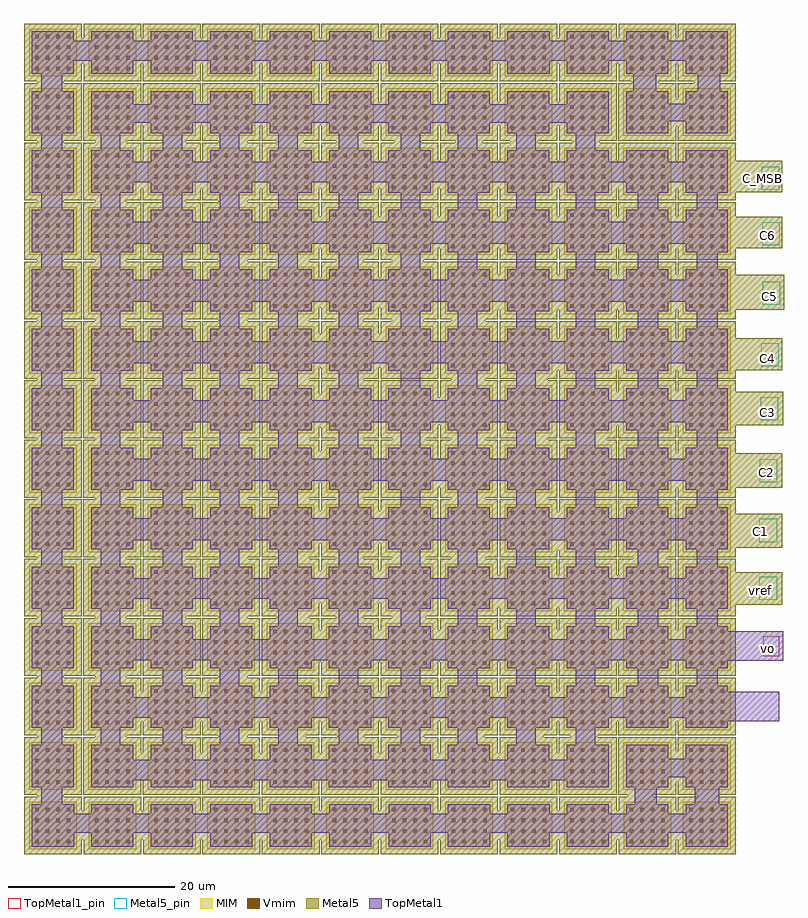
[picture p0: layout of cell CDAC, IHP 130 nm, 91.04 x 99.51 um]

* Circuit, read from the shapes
.subckt CDAC C1 C2 C3 C4 C5 C6 C_MSB vo vref
XC1 n1 n2 cap_cmim w=5.71u l=5.71u m=40
XC2 vo C_MSB cap_cmim w=5.71u l=5.71u m=64
XC3 vo C6 cap_cmim w=5.71u l=5.71u m=32
XC4 vo C5 cap_cmim w=5.71u l=5.71u m=16
XC5 vo C4 cap_cmim w=5.71u l=5.71u m=8
XC6 vo C3 cap_cmim w=5.71u l=5.71u m=4
XC7 vo C2 cap_cmim w=5.71u l=5.71u m=2
XC8 vo vref cap_cmim w=5.71u l=5.71u
XC9 vo C1 cap_cmim w=5.71u l=5.71u
.ends

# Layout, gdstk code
import gdstk
lib = gdstk.Library(unit=1e-6, precision=1e-09)
def R(c, l, rs):  # rectangles x0, y0, x1, y1
    for r in rs: c.add(gdstk.rectangle(r[:2], r[2:], *l))
def A(c, l, x, y, w, h, nx, ny, dx, dy):  # array of equal rectangles
    R(c, l, [(x+i*dx, y+j*dy, x+i*dx+w, y+j*dy+h) for i in range(nx) for j in range(ny)])
MIM = (36, 0)
Metal5 = (67, 0)
Metal5_pin = (67, 2)
TopMetal1 = (126, 0)
TopMetal1_pin = (126, 2)
Vmim = (129, 0)

cmim_2 = lib.new_cell('cmim$2')
R(cmim_2, MIM, [(0,0,5.71,5.71)])
R(cmim_2, Metal5, [(-0.6,-0.6,6.31,6.31)])
R(cmim_2, TopMetal1, [(0.335,0.335,5.375,5.375)])
A(cmim_2, Vmim, 0.755, 0.755, 0.42, 0.42, 4, 4, 1.26, 1.26)

cmim_1 = lib.new_cell('cmim$1')
R(cmim_1, MIM, [(0,0,5.71,5.71)])
R(cmim_1, Metal5, [(-0.6,-0.6,6.31,6.31)])
R(cmim_1, TopMetal1, [(0.335,0.335,5.375,5.375)])
A(cmim_1, Vmim, 0.755, 0.755, 0.42, 0.42, 4, 4, 1.26, 1.26)

cdac = lib.new_cell('CDAC')
R(cdac, Metal5, [(0.84,-83.655,82.315,-80.135), (71.43,-83.62,74.395,-73.065), (79.78,-83.62,82.29,-73.095), (0.67,-83.49,3.855,12.575), (71.415,-76.695,82.31,-73.065), (7.485,-76.475,67.675,-73.285), (64.49,-76.42,67.735,-66.115), (29.565,-76.29,32.81,-65.985), (36.605,-76.29,39.85,-65.985), (43.765,-76.25,47.01,-65.945), (50.97,-76.25,54.215,-65.945), (58.055,-76.25,61.3,-65.945), (7.595,-76.145,11.335,4.73), (15.625,-76.145,18.485,4.62), (22.34,-75.815,25.86,4.73), (7.485,-69.435,82.31,-65.91), (36.42,-62.83,39.725,-9.025), (29.38,-62.72,33.23,-9.025), (43.135,-62.5,47.205,-44.565), (29.6,-62.28,82.2,-58.54), (50.285,-55.79,75.705,-51.94), (72.075,-55.68,76.035,-44.785), (50.285,-55.57,54.36,-16.065), (78.785,-55.46,89.9,-51.605), (29.38,-55.24,47.535,-51.385), (57.99,-48.965,61.84,-23.55), (58.1,-48.965,68.555,-44.345), (78.785,-48.635,89.9,-44.565), (29.27,-48.085,47.315,-44.235), (65.03,-41.485,68.885,-30.15), (72.075,-41.485,89.9,-37.305), (43.135,-41.375,53.48,-38.075), (43.245,-41.045,47.205,-30.37), (29.27,-40.825,39.835,-37.085), (29.27,-34.22,39.945,-30.26), (65.03,-34,90.01,-29.93), (43.465,-33.89,53.15,-30.59), (57.88,-27.4,89.9,-23.55), (29.38,-27.07,47.205,-23), (43.135,-26.52,46.985,-9.135), (50.175,-20.135,90.12,-15.955), (29.38,-19.915,47.205,-16.285), (29.6,-12.765,82.09,-9.025), (78.895,-12.765,89.9,-9.025), (78.785,-6.05,89.9,-2.31), (64.83,-5.64,68.075,4.665), (7.485,-5.61,82.97,-2.31), (29.37,-5.6,32.615,4.705), (36.47,-5.6,39.715,4.705), (50.755,-5.59,54,4.715), (57.355,-5.59,60.6,4.715), (43.44,-5.545,46.685,4.76), (71.635,1.87,82.2,5.06), (7.705,1.98,68.115,4.73), (71.895,2.03,75.125,12.46), (79.37,2.03,82.51,12.365), (0.67,9.39,82.485,12.405)])
R(cdac, Metal5_pin, [(87.185,-54.885,89.285,-52.12), (87.185,-47.965,89.285,-45.2), (87.235,-40.825,89.335,-38.06), (87.34,-33.385,89.44,-30.62), (87.375,-26.91,89.475,-24.145), (87.6,-19.565,89.7,-16.8), (87.495,-12.405,89.595,-9.64), (87.46,-5.75,89.56,-2.985)])
R(cdac, TopMetal1, [(1.175,-82.985,3.69,11.065), (79.41,-82.87,82.355,-73.895), (1.41,-82.775,82.55,-80.5), (72.23,-82.74,74.86,-74.09), (29.545,-77.175,31.88,4.53), (22.52,-77.075,24.855,4.63), (36.77,-76.78,39.105,4.925), (15.69,-76.58,18.025,5.125), (44.19,-76.58,46.525,5.125), (7.745,-76.48,68.38,-74.015), (51.02,-76.48,53.355,5.225), (58.045,-76.38,60.38,5.325), (65.17,-76.38,67.505,5.325), (8.27,-76.285,10.605,5.42), (72.295,-76.145,82.31,-73.945), (78.635,-69.435,89.53,-65.915), (72.625,-69.325,75.045,-1.87), (79.665,-69.215,82.2,-1.98), (8.08,-69.025,81.75,-66.55), (79.115,-62.17,90.01,-58.65), (8.3,-62.095,81.97,-59.62), (9.1,-54.755,81.65,-52.28), (9.26,-47.73,81.33,-45.095), (9.55,-40.595,81.62,-37.96), (9.225,-33.6,81.295,-30.965), (8.915,-26.575,80.985,-23.94), (8.645,-19.175,80.715,-16.54), (9.16,-12.25,81.23,-9.615), (7.94,-4.89,81.61,-2.415), (7.94,-4.89,81.61,-2.415), (7.66,2.29,68.4,4.49), (71.965,2.42,81.98,4.51), (72.05,2.525,74.815,12.06), (79.8,2.525,82.51,11.935), (1.2,9.67,81.98,12.07)])
R(cdac, TopMetal1_pin, [(87.64,-61.645,89.53,-59.23)])
cdac.add(gdstk.Reference(cmim_2, (49.525,0.69)))
cdac.add(gdstk.Reference(cmim_1, (42.405,0.69)))
cdac.add(gdstk.Reference(cmim_2, (78.01,0.69)))
cdac.add(gdstk.Reference(cmim_1, (70.89,0.69)))
cdac.add(gdstk.Reference(cmim_1, (63.77,0.69)))
cdac.add(gdstk.Reference(cmim_1, (56.65,0.69)))
cdac.add(gdstk.Reference(cmim_2, (49.525,-6.43)))
cdac.add(gdstk.Reference(cmim_1, (42.405,-6.43)))
cdac.add(gdstk.Reference(cmim_2, (78.01,-6.43)))
cdac.add(gdstk.Reference(cmim_1, (70.89,-6.43)))
cdac.add(gdstk.Reference(cmim_1, (63.77,-6.43)))
cdac.add(gdstk.Reference(cmim_1, (56.65,-6.43)))
cdac.add(gdstk.Reference(cmim_2, (49.525,-13.555)))
cdac.add(gdstk.Reference(cmim_1, (42.405,-13.555)))
cdac.add(gdstk.Reference(cmim_2, (78.01,-13.555)))
cdac.add(gdstk.Reference(cmim_1, (70.89,-13.555)))
cdac.add(gdstk.Reference(cmim_1, (63.77,-13.555)))
cdac.add(gdstk.Reference(cmim_1, (56.65,-13.555)))
cdac.add(gdstk.Reference(cmim_2, (49.525,-20.675)))
cdac.add(gdstk.Reference(cmim_1, (42.405,-20.675)))
cdac.add(gdstk.Reference(cmim_2, (78.01,-20.675)))
cdac.add(gdstk.Reference(cmim_1, (70.89,-20.675)))
cdac.add(gdstk.Reference(cmim_1, (63.77,-20.675)))
cdac.add(gdstk.Reference(cmim_1, (56.65,-20.675)))
cdac.add(gdstk.Reference(cmim_2, (49.525,-27.795)))
cdac.add(gdstk.Reference(cmim_1, (42.405,-27.795)))
cdac.add(gdstk.Reference(cmim_2, (78.01,-27.795)))
cdac.add(gdstk.Reference(cmim_1, (70.89,-27.795)))
cdac.add(gdstk.Reference(cmim_1, (63.77,-27.795)))
cdac.add(gdstk.Reference(cmim_1, (56.65,-27.795)))
cdac.add(gdstk.Reference(cmim_2, (49.525,-34.915)))
cdac.add(gdstk.Reference(cmim_1, (42.405,-34.915)))
cdac.add(gdstk.Reference(cmim_2, (78.01,-34.915)))
cdac.add(gdstk.Reference(cmim_1, (70.89,-34.915)))
cdac.add(gdstk.Reference(cmim_1, (63.77,-34.915)))
cdac.add(gdstk.Reference(cmim_1, (56.65,-34.915)))
cdac.add(gdstk.Reference(cmim_2, (49.53,7.825)))
cdac.add(gdstk.Reference(cmim_1, (42.41,7.825)))
cdac.add(gdstk.Reference(cmim_2, (78.015,7.825)))
cdac.add(gdstk.Reference(cmim_1, (70.895,7.825)))
cdac.add(gdstk.Reference(cmim_1, (63.775,7.825)))
cdac.add(gdstk.Reference(cmim_1, (56.655,7.825)))
cdac.add(gdstk.Reference(cmim_1, (35.285,-20.675)))
cdac.add(gdstk.Reference(cmim_1, (28.165,-20.675)))
cdac.add(gdstk.Reference(cmim_1, (6.805,0.69)))
cdac.add(gdstk.Reference(cmim_1, (-0.315,0.69)))
cdac.add(gdstk.Reference(cmim_2, (21.045,0.69)))
cdac.add(gdstk.Reference(cmim_1, (13.925,0.69)))
cdac.add(gdstk.Reference(cmim_2, (21.045,-27.795)))
cdac.add(gdstk.Reference(cmim_1, (13.925,-27.795)))
cdac.add(gdstk.Reference(cmim_1, (6.805,-27.795)))
cdac.add(gdstk.Reference(cmim_1, (-0.315,-27.795)))
cdac.add(gdstk.Reference(cmim_2, (21.045,-13.555)))
cdac.add(gdstk.Reference(cmim_1, (13.925,-13.555)))
cdac.add(gdstk.Reference(cmim_1, (35.285,-27.795)))
cdac.add(gdstk.Reference(cmim_1, (28.165,-27.795)))
cdac.add(gdstk.Reference(cmim_1, (6.805,-13.555)))
cdac.add(gdstk.Reference(cmim_1, (-0.315,-13.555)))
cdac.add(gdstk.Reference(cmim_2, (21.045,-6.43)))
cdac.add(gdstk.Reference(cmim_1, (13.925,-6.43)))
cdac.add(gdstk.Reference(cmim_2, (21.045,-34.915)))
cdac.add(gdstk.Reference(cmim_1, (13.925,-34.915)))
cdac.add(gdstk.Reference(cmim_1, (6.805,-34.915)))
cdac.add(gdstk.Reference(cmim_1, (-0.315,-34.915)))
cdac.add(gdstk.Reference(cmim_1, (35.285,-13.555)))
cdac.add(gdstk.Reference(cmim_1, (28.165,-13.555)))
cdac.add(gdstk.Reference(cmim_1, (35.285,-34.915)))
cdac.add(gdstk.Reference(cmim_1, (28.165,-34.915)))
cdac.add(gdstk.Reference(cmim_1, (6.805,-6.43)))
cdac.add(gdstk.Reference(cmim_1, (-0.315,-6.43)))
cdac.add(gdstk.Reference(cmim_1, (35.285,0.69)))
cdac.add(gdstk.Reference(cmim_1, (28.165,0.69)))
cdac.add(gdstk.Reference(cmim_2, (21.045,-20.675)))
cdac.add(gdstk.Reference(cmim_1, (13.925,-20.675)))
cdac.add(gdstk.Reference(cmim_1, (6.805,-20.675)))
cdac.add(gdstk.Reference(cmim_1, (-0.315,-20.675)))
cdac.add(gdstk.Reference(cmim_1, (35.285,-6.43)))
cdac.add(gdstk.Reference(cmim_1, (28.165,-6.43)))
cdac.add(gdstk.Reference(cmim_1, (6.81,7.825)))
cdac.add(gdstk.Reference(cmim_1, (-0.31,7.825)))
cdac.add(gdstk.Reference(cmim_2, (21.05,7.825)))
cdac.add(gdstk.Reference(cmim_1, (13.93,7.825)))
cdac.add(gdstk.Reference(cmim_1, (35.29,7.825)))
cdac.add(gdstk.Reference(cmim_1, (28.17,7.825)))
cdac.add(gdstk.Reference(cmim_2, (21.04,-56.28)))
cdac.add(gdstk.Reference(cmim_1, (13.92,-56.28)))
cdac.add(gdstk.Reference(cmim_1, (6.8,-56.28)))
cdac.add(gdstk.Reference(cmim_1, (-0.32,-56.28)))
cdac.add(gdstk.Reference(cmim_1, (35.28,-56.28)))
cdac.add(gdstk.Reference(cmim_1, (28.16,-56.28)))
cdac.add(gdstk.Reference(cmim_2, (21.04,-63.4)))
cdac.add(gdstk.Reference(cmim_1, (13.92,-63.4)))
cdac.add(gdstk.Reference(cmim_1, (6.8,-63.4)))
cdac.add(gdstk.Reference(cmim_1, (-0.32,-63.4)))
cdac.add(gdstk.Reference(cmim_1, (35.28,-63.4)))
cdac.add(gdstk.Reference(cmim_1, (28.16,-63.4)))
cdac.add(gdstk.Reference(cmim_2, (21.04,-70.525)))
cdac.add(gdstk.Reference(cmim_1, (13.92,-70.525)))
cdac.add(gdstk.Reference(cmim_1, (6.8,-70.525)))
cdac.add(gdstk.Reference(cmim_1, (-0.32,-70.525)))
cdac.add(gdstk.Reference(cmim_1, (35.28,-70.525)))
cdac.add(gdstk.Reference(cmim_1, (28.16,-70.525)))
cdac.add(gdstk.Reference(cmim_2, (21.04,-77.645)))
cdac.add(gdstk.Reference(cmim_1, (13.92,-77.645)))
cdac.add(gdstk.Reference(cmim_1, (6.8,-77.645)))
cdac.add(gdstk.Reference(cmim_1, (-0.32,-77.645)))
cdac.add(gdstk.Reference(cmim_1, (35.28,-77.645)))
cdac.add(gdstk.Reference(cmim_1, (28.16,-77.645)))
cdac.add(gdstk.Reference(cmim_2, (21.045,-42.04)))
cdac.add(gdstk.Reference(cmim_1, (13.925,-42.04)))
cdac.add(gdstk.Reference(cmim_1, (6.805,-42.04)))
cdac.add(gdstk.Reference(cmim_1, (-0.315,-42.04)))
cdac.add(gdstk.Reference(cmim_1, (35.285,-42.04)))
cdac.add(gdstk.Reference(cmim_1, (28.165,-42.04)))
cdac.add(gdstk.Reference(cmim_2, (21.045,-49.16)))
cdac.add(gdstk.Reference(cmim_1, (13.925,-49.16)))
cdac.add(gdstk.Reference(cmim_1, (6.805,-49.16)))
cdac.add(gdstk.Reference(cmim_1, (-0.315,-49.16)))
cdac.add(gdstk.Reference(cmim_1, (35.285,-49.16)))
cdac.add(gdstk.Reference(cmim_1, (28.165,-49.16)))
cdac.add(gdstk.Reference(cmim_1, (6.815,-84.775)))
cdac.add(gdstk.Reference(cmim_1, (-0.305,-84.775)))
cdac.add(gdstk.Reference(cmim_2, (21.055,-84.775)))
cdac.add(gdstk.Reference(cmim_1, (13.935,-84.775)))
cdac.add(gdstk.Reference(cmim_1, (35.295,-84.775)))
cdac.add(gdstk.Reference(cmim_1, (28.175,-84.775)))
cdac.add(gdstk.Reference(cmim_2, (49.52,-56.28)))
cdac.add(gdstk.Reference(cmim_1, (42.4,-56.28)))
cdac.add(gdstk.Reference(cmim_2, (78.005,-70.525)))
cdac.add(gdstk.Reference(cmim_1, (70.885,-70.525)))
cdac.add(gdstk.Reference(cmim_1, (63.765,-70.525)))
cdac.add(gdstk.Reference(cmim_1, (56.645,-70.525)))
cdac.add(gdstk.Reference(cmim_2, (49.525,-49.16)))
cdac.add(gdstk.Reference(cmim_1, (42.405,-49.16)))
cdac.add(gdstk.Reference(cmim_2, (78.005,-56.28)))
cdac.add(gdstk.Reference(cmim_1, (70.885,-56.28)))
cdac.add(gdstk.Reference(cmim_2, (49.52,-77.645)))
cdac.add(gdstk.Reference(cmim_1, (42.4,-77.645)))
cdac.add(gdstk.Reference(cmim_1, (63.765,-56.28)))
cdac.add(gdstk.Reference(cmim_1, (56.645,-56.28)))
cdac.add(gdstk.Reference(cmim_2, (78.005,-77.645)))
cdac.add(gdstk.Reference(cmim_1, (70.885,-77.645)))
cdac.add(gdstk.Reference(cmim_1, (63.765,-77.645)))
cdac.add(gdstk.Reference(cmim_1, (56.645,-77.645)))
cdac.add(gdstk.Reference(cmim_1, (63.77,-42.04)))
cdac.add(gdstk.Reference(cmim_1, (56.65,-42.04)))
cdac.add(gdstk.Reference(cmim_2, (78.01,-49.16)))
cdac.add(gdstk.Reference(cmim_1, (70.89,-49.16)))
cdac.add(gdstk.Reference(cmim_2, (49.52,-63.4)))
cdac.add(gdstk.Reference(cmim_1, (42.4,-63.4)))
cdac.add(gdstk.Reference(cmim_1, (63.77,-49.16)))
cdac.add(gdstk.Reference(cmim_1, (56.65,-49.16)))
cdac.add(gdstk.Reference(cmim_2, (78.005,-63.4)))
cdac.add(gdstk.Reference(cmim_1, (70.885,-63.4)))
cdac.add(gdstk.Reference(cmim_1, (63.765,-63.4)))
cdac.add(gdstk.Reference(cmim_1, (56.645,-63.4)))
cdac.add(gdstk.Reference(cmim_2, (49.535,-84.775)))
cdac.add(gdstk.Reference(cmim_1, (42.415,-84.775)))
cdac.add(gdstk.Reference(cmim_2, (78.02,-84.775)))
cdac.add(gdstk.Reference(cmim_1, (70.9,-84.775)))
cdac.add(gdstk.Reference(cmim_1, (63.78,-84.775)))
cdac.add(gdstk.Reference(cmim_1, (56.66,-84.775)))
cdac.add(gdstk.Reference(cmim_2, (49.525,-42.04)))
cdac.add(gdstk.Reference(cmim_1, (42.405,-42.04)))
cdac.add(gdstk.Reference(cmim_2, (78.01,-42.04)))
cdac.add(gdstk.Reference(cmim_1, (70.89,-42.04)))
cdac.add(gdstk.Reference(cmim_2, (49.52,-70.525)))
cdac.add(gdstk.Reference(cmim_1, (42.4,-70.525)))
cdac.add(gdstk.Label('vo', (88.125,-60.775), layer=126, texttype=25))
cdac.add(gdstk.Label('vref', (87.32,-53.795), layer=67, texttype=25))
cdac.add(gdstk.Label('C1', (87.355,-46.665), layer=67, texttype=25))
cdac.add(gdstk.Label('C2', (88.02,-39.66), layer=67, texttype=25))
cdac.add(gdstk.Label('C3', (88.125,-32.43), layer=67, texttype=25))
cdac.add(gdstk.Label('C4', (88.125,-25.935), layer=67, texttype=25))
cdac.add(gdstk.Label('C5', (88.335,-18.495), layer=67, texttype=25))
cdac.add(gdstk.Label('C6', (88.125,-11.21), layer=67, texttype=25))
cdac.add(gdstk.Label('C_MSB', (87.535,-4.42), layer=67, texttype=25))

lib.write_gds('CDAC.gds')
